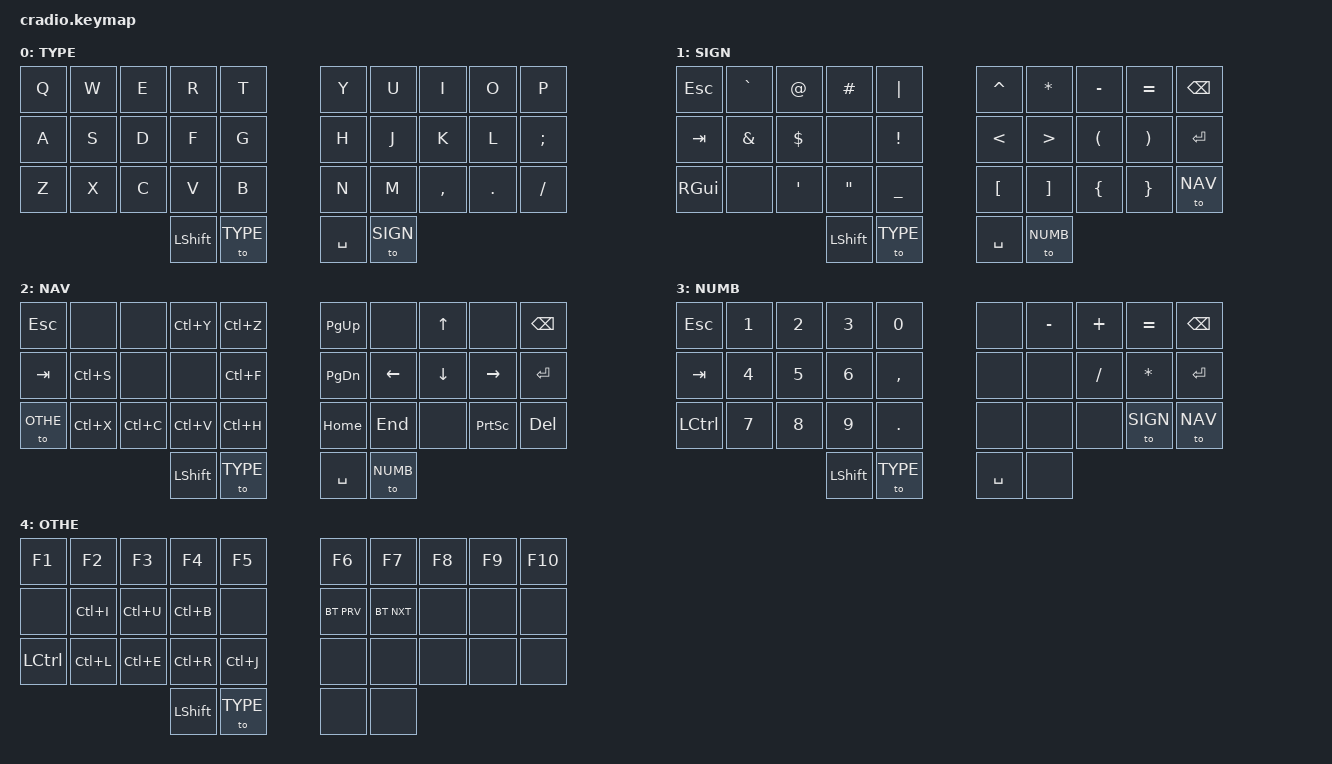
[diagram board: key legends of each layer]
// Copyright (c) 2022 The ZMK Contributors
// SPDX-License-Identifier: MIT

#include <behaviors.dtsi>
#include <dt-bindings/zmk/keys.h>
#include <dt-bindings/zmk/bt.h>

#define TYPE   0
#define SIGN   1
#define NAV    2
#define NUMB   3
#define OTHE   4

/ {
    behaviors {
        ht: hold_tap {
            label = "hold_tap";
            compatible = "zmk,behavior-hold-tap";
            #binding-cells = <2>;
            flavor = "tap-preferred";
            tapping-term-ms = <220>;
            quick-tap-ms = <150>;
            global-quick-tap;
            bindings = <&kp>, <&kp>;
        };
    };
    
    keymap {
        compatible = "zmk,keymap";
        default_layer {
            label = "TYPE";
            bindings = <
        //╭──────────┬──────────┬──────────┬──────────┬──────────╮   ╭──────────┬──────────┬──────────┬──────────┬──────────╮
        //│  Q       │  W       │  E       │  R       │  T       │   │  Y       │  U       │  I       │  O       │  P       │
            &kp Q      &kp W      &kp E      &kp R      &kp T          &kp Y      &kp U      &kp I      &kp O      &kp P
        //├──────────┼──────────┼──────────┼──────────┼──────────┤   ├──────────┼──────────┼──────────┼──────────┼──────────┤
        //│  A       │  S       │  D       │  F       │  G       │   │  H       │  J       │  K       │  L       │ ' "      │
            &kp A      &kp S      &kp  D     &kp  F     &kp G          &kp H      &kp J      &kp  K     &kp  L     &kp SEMICOLON
        //├──────────┼──────────┼──────────┼──────────┼──────────┤   ├──────────┼──────────┼──────────┼──────────┼──────────┤
        //│  Z       │  X       │  C       │  V       │  B       │   │  N       │  M       │ , <      │ . >      │ / ?      │
            &kp Z      &kp X      &kp C      &kp V      &kp B          &kp N      &kp M      &kp COMMA  &kp DOT    &kp FSLH
        //╰──────────┴──────────┴──────────┼──────────┼──────────┤   ├──────────┼──────────┼──────────┴──────────┴──────────╯
                                             &kp LSHFT  &to TYPE       &kp SPACE  &to SIGN
        //                                 ╰──────────┴──────────╯   ╰──────────┴──────────╯
            >;
        };

        sgin_layer {
            label = "SIGN";
            bindings = <
        //╭──────────┬──────────┬──────────┬──────────┬──────────╮   ╭──────────┬──────────┬──────────┬──────────┬──────────╮
        //│ ESC      │  1       │  2       │  3       │          │   │ HOME     │ PAGE DN  │ PAGE UP  │ END      │  :       │
            &kp ESC    &kp GRAVE   &kp AT    &kp HASH   &kp PIPE       &kp CARET  &kp ASTRK  &kp MINUS  &kp EQUAL  &kp BSPC
        //├──────────┼──────────┼──────────┼──────────┼──────────┤   ├──────────┼──────────┼──────────┼──────────┼──────────┤
        //│ DELETE   │  4       │  5       │  6       │          │   │ LEFT     │ DOWN     │ UP       │ RIGHT    │  ;       │
            &kp TAB    &kp AMPS   &kp DLLR   &none      &kp EXCL       &kp LT     &kp GT     &kp LPAR   &kp RPAR   &kp ENTER
        //├──────────┼──────────┼──────────┼──────────┼──────────┤   ├──────────┼──────────┼──────────┼──────────┼──────────┤
        //│ CAPS     │  7       │  8       │  9       │  0       │   │          │          │          │          │          │
            &kp RGUI   &none      &kp SQT    &kp DQT    &kp UNDER      &kp LBKT   &kp RBKT   &kp LBRC   &kp RBRC   &to NAV
        //╰──────────┴──────────┴──────────┼──────────┼──────────┤   ├──────────┼──────────┼──────────┴──────────┴──────────╯
                                             &kp LSHFT  &to TYPE       &kp SPACE  &to NUMB
        //                                 ╰──────────┴──────────╯   ╰──────────┴──────────╯
            >;
        };

        nav_layer {
            label = "NAV";
            bindings = <
        //╭──────────┬──────────┬──────────┬──────────┬──────────╮   ╭──────────┬──────────┬──────────┬──────────┬──────────╮
        //│          │  [       │  {       │  }       │          │   │  ^       │  (       │  )       │  ]       │  ~       │
            &kp ESC    &none      &none      &kp LC(Y)  &kp LC(Z)      &kp PG_UP  &none      &kp UP     &none      &kp BSPC   
        //├──────────┼──────────┼──────────┼──────────┼──────────┤   ├──────────┼──────────┼──────────┼──────────┼──────────┤
        //│  !       │  @       │  #       │  $       │  %       │   │  *       │  -       │  =       │  \       │  `       │
            &kp TAB    &kp LC(S)  &none      &none      &kp LC(F)      &kp PG_DN  &kp LEFT   &kp DOWN   &kp RIGHT  &kp ENTER
        //├──────────┼──────────┼──────────┼──────────┼──────────┤   ├──────────┼──────────┼──────────┼──────────┼──────────┤
        //│          │          │          │          │          │   │  &       │  _       │  +       │  │       │          │
            &to OTHE   &kp LC(X)  &kp LC(C)  &kp LC(V)  &kp LC(H)      &kp HOME   &kp END    &none      &kp PSCRN  &kp DEL
        //╰──────────┴──────────┴──────────┼──────────┼──────────┤   ├──────────┼──────────┼──────────┴──────────┴──────────╯
                                             &kp LSHFT  &to TYPE       &kp SPACE  &to NUMB
        //                                 ╰──────────┴──────────╯   ╰──────────┴──────────╯
            >;
        };

        numb_layer  {
            label = "NUMB";
            bindings = <
        //╭──────────┬──────────┬──────────┬──────────┬──────────╮   ╭──────────┬──────────┬──────────┬──────────┬──────────╮
        //│ RESET    │          │          │          │PROFILE 0 │   │          │          │          │          │  RESET   │
            &kp ESC    &kp N1     &kp N2     &kp N3     &kp N0         &none      &kp MINUS  &kp PLUS   &kp EQUAL  &kp BSPC
        //├──────────┼──────────┼──────────┼──────────┼──────────┤   ├──────────┼──────────┼──────────┼──────────┼──────────┤
        //│BOOTLOADER│          │          │          │PROFILE 1 │   │          │          │          │          │BOOTLOADER│
            &kp TAB    &kp N4     &kp N5     &kp N6     &kp COMMA      &none      &none      &kp FSLH   &kp ASTRK  &kp ENTER
        //├──────────┼──────────┼──────────┼──────────┼──────────┤   ├──────────┼──────────┼──────────┼──────────┼──────────┤
        //│          │          │          │ CLEAR BT │PROFILE 2 │   │          │          │          │          │          │
            &kp LCTRL  &kp N7     &kp N8     &kp N9     &kp DOT        &none      &none      &none      &to SIGN   &to NAV
        //╰──────────┴──────────┴──────────┼──────────┼──────────┤   ├──────────┼──────────┼──────────┴──────────┴──────────╯
                                             &kp LSHFT  &to TYPE       &kp SPACE  &none
        //                                 ╰──────────┴──────────╯   ╰──────────┴──────────╯
            >;
        };


        othe_layer  {
            label = "OTHE";
            bindings = <
        //╭──────────┬──────────┬──────────┬──────────┬──────────╮   ╭──────────┬──────────┬──────────┬──────────┬──────────╮
        //│ RESET    │          │          │          │PROFILE 0 │   │          │          │          │          │  RESET   │
            &kp F1     &kp F2     &kp F3     &kp F4     &kp F5         &kp F6     &kp F7     &kp F8     &kp F9     &kp F10
        //├──────────┼──────────┼──────────┼──────────┼──────────┤   ├──────────┼──────────┼──────────┼──────────┼──────────┤
        //│BOOTLOADER│          │          │          │PROFILE 1 │   │          │          │          │          │BOOTLOADER│
            &none      &kp LC(I)  &kp LC(U)  &kp LC(B)  &none          &bt BT_PRV &bt BT_NXT &none      &none      &none
        //├──────────┼──────────┼──────────┼──────────┼──────────┤   ├──────────┼──────────┼──────────┼──────────┼──────────┤
        //│          │          │          │ CLEAR BT │PROFILE 2 │   │          │          │          │          │          │
            &kp LCTRL  &kp LC(L)  &kp LC(E)  &kp LC(R)  &kp LC(J)      &none      &none      &none      &none      &none   
        //╰──────────┴──────────┴──────────┼──────────┼──────────┤   ├──────────┼──────────┼──────────┴──────────┴──────────╯
                                             &kp LSHFT  &to TYPE       &none      &none
        //                                 ╰──────────┴──────────╯   ╰──────────┴──────────╯
            >;
        };
    };
};
